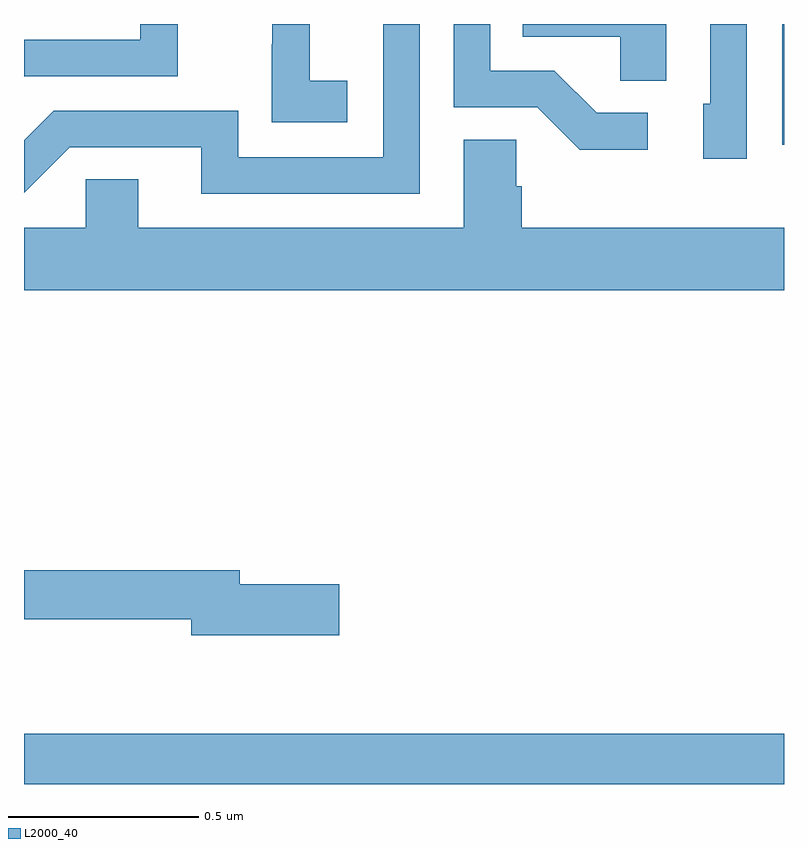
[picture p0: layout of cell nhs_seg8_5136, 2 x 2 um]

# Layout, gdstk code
import gdstk
lib = gdstk.Library(unit=1e-6, precision=1e-09)
def R(c, l, rs):  # rectangles x0, y0, x1, y1
    for r in rs: c.add(gdstk.rectangle(r[:2], r[2:], *l))
def P(c, l, *ps):  # polygons
    for p in ps: c.add(gdstk.Polygon(p, *l))
L2000_40 = (2000, 40)

nhs_seg8_5136 = lib.new_cell('nhs_seg8_5136')
R(nhs_seg8_5136, L2000_40, [(180,1081.9,182,1082.032), (181.995,1083.582,182,1083.9)])
P(nhs_seg8_5136, L2000_40, [(181.041,1083.9),(180.945,1083.9),(180.945,1083.549),(180.564,1083.549),(180.564,1083.672),(180.078,1083.672),(180,1083.594),(180,1083.456),(180.12,1083.576),(180.467,1083.576),(180.467,1083.453),(181.041,1083.453)],
  [(181.902,1083.9),(181.806,1083.9),(181.806,1083.69),(181.787,1083.69),(181.787,1083.546),(181.902,1083.546)],
  [(180.001,1083.762),(180.405,1083.762),(180.405,1083.9),(180.306,1083.9),(180.306,1083.858),(180,1083.858),(180,1083.761)],
  [(181.69,1083.9),(181.312,1083.9),(181.312,1083.866),(181.569,1083.866),(181.569,1083.751),(181.69,1083.751)],
  [(180.85,1083.751),(180.752,1083.751),(180.752,1083.9),(180.653,1083.9),(180.653,1083.847),(180.652,1083.847),(180.652,1083.641),(180.85,1083.641)],
  [(181.642,1083.666),(181.507,1083.666),(181.396,1083.777),(181.227,1083.777),(181.227,1083.9),(181.131,1083.9),(181.131,1083.681),(181.35,1083.681),(181.463,1083.569),(181.642,1083.569)],
  [(182,1083.364),(181.31,1083.364),(181.31,1083.473),(181.296,1083.473),(181.296,1083.596),(181.157,1083.596),(181.157,1083.364),(180.301,1083.364),(180.301,1083.491),(180.162,1083.491),(180.162,1083.364),(180,1083.364),(180,1083.2),(182,1083.2)],
  [(180.829,1082.426),(180.568,1082.426),(180.568,1082.462),(180,1082.462),(180,1082.334),(180.44,1082.334),(180.44,1082.291),(180.829,1082.291)])

lib.write_gds('nhs_seg8_5136.gds')
